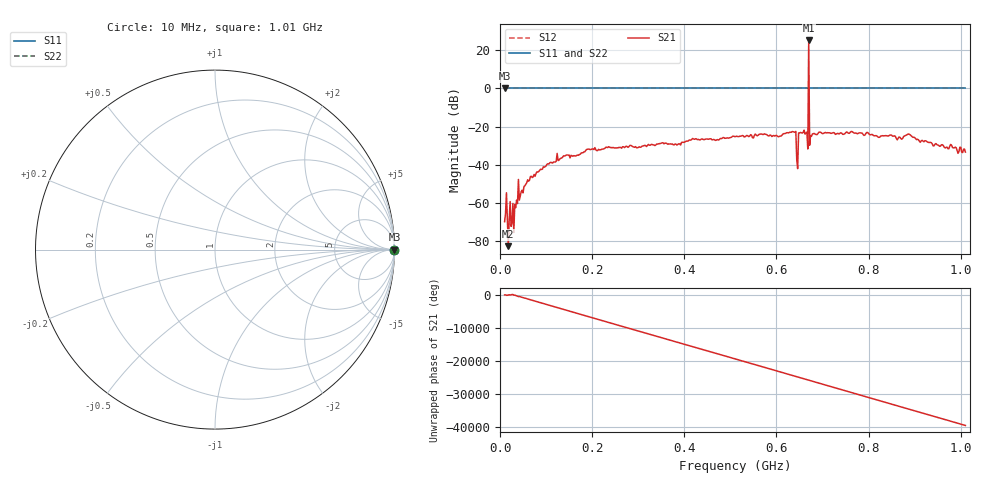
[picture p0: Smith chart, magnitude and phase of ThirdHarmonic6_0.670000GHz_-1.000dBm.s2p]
! 8/15/2025 10:18:42 PM
! C:\ANRITSUVNA\TEMP\TEMP.S2P
! CHANNEL.1
! TR.MEASUREMENT
! RAW.DATA
! RF.CORRECTION.OFF
! AVERAGING.OFF
! IF.BANDWIDTH: 5KHZ
! SWEEPTYPE:  FREQ.SWEEP(Linear)
! Reference Plane Port Info
! PORT:  PORT1  PORT2
! DISTANCE:  0  m  0  m
! TIME:  0  s  0  s
! PHASE.OFFSET:  0  deg.  0  deg.
! LOSS:  0  dB  0  dB
! REF.LOSS:  0  dB  0  dB
! REF.FREQ:  0  Hz  0  Hz
! Power Info
! POWER:  -20  dBm  -20  dBm
! EFF.POWER:  -20  dBm  -20  dBm
! SOURCE.ATTEN:  0  dB  0  dB
! TEST.ATTEN:  0  dB  0  dB
# GHZ S RI R 50.0
! FREQ.GHZ  S11RE  S11IM  S21RE  S21IM  S12RE  S12IM  S22RE  S22IM
!; PortSelection: Port_12
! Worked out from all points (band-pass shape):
!   501 points, 10 MHz to 1.01 GHz, reference 50 ohm
!   highest |S21| = 25.26 dB at 670 MHz (marker M1); lowest = -82.9 dB at 18 MHz (marker M2)
!   |S21| within 3 dB of the highest: 669.8949 MHz to 670.1089 MHz (213.9 kHz wide, 0.0319 % of centre)
!   lowest |S11| = 0.0 dB at 10 MHz (marker M3)
!   |S11| at or under -10 dB: nowhere
!   |S22| runs from 0.0 to 0.0 dB; largest |S21 - S12| = 19
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0.01  1 0  9.61e-05 0.000299  1 0  1 0
0.018  1 0  5.64e-05 4.35e-05  1 0  1 0
0.022  1 0  0.000803 0.000693  1 0  1 0
0.024  1 0  -5.33e-05 0.00023  1 0  1 0
0.028  1 0  -0.00093 -0.000159  1 0  1 0
0.036  1 0  -0.00114 0.000173  1 0  1 0
0.07  1 0  -0.00198 -0.0041  1 0  1 0
0.178  1 0  -0.0203 -0.00189  1 0  1 0
0.344  1 0  0.0301 -0.0176  1 0  1 0
0.51  1 0  -0.0316 0.0436  1 0  1 0
0.638  1 0  0.0717 2.48e-05  1 0  1 0
0.642  1 0  -0.0713 -0.0208  1 0  1 0
0.648  1 0  0.0436 -0.0518  1 0  1 0
0.652  1 0  -0.0618 0.0319  1 0  1 0
0.664  1 0  0.0581 0.0325  1 0  1 0
0.666  1 0  0.0453 -0.0552  1 0  1 0
0.67  1 0  -18.31 -0.8707  1 0  1 0
0.674  1 0  0.053 -0.0233  1 0  1 0
0.676  1 0  -0.00626 -0.0551  1 0  1 0
0.678  1 0  -0.063 -0.0088  1 0  1 0
0.844  1 0  0.0402 -0.0409  1 0  1 0
1.01  1 0  0.000252 0.0213  1 0  1 0
